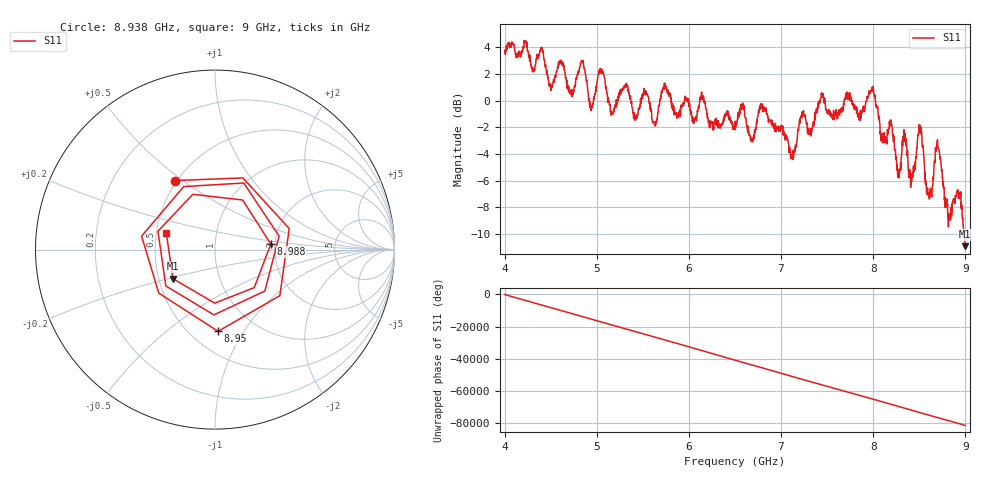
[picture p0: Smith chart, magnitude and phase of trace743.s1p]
! Created with skrf 1.8.0 (http://scikit-rf.org).
# Hz S RI R 50.0
!freq ReS11 ImS11
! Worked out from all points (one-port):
!   1601 points, 4 GHz to 9 GHz, reference 50 ohm
!   lowest |S11| = -10.9 dB at 8.997 GHz (marker M1), VSWR 1.80, Z = 29.6 - j10.5 ohm
!   |S11| at or under -10 dB: 8.984129 GHz to end of sweep
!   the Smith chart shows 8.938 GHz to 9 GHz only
!   S11 on the Smith chart (normalised r, x): 8.938 GHz: 0.49, +0.47; 8.95 GHz: 0.68, -0.78; 8.988 GHz: 1.90, +0.13; 9 GHz: 0.57, +0.11
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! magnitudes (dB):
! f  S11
! 4 GHz  3.7
! 4.625 GHz  2.7
! 4.725 GHz  0.6
! 4.847 GHz  3.0
! 4.938 GHz  -0.7
! 5.044 GHz  2.3
! 5.162 GHz  -0.8
! 5.25 GHz  0.8
! 5.875 GHz  -1.0
! 6.5 GHz  -2.2
! 6.688 GHz  -3.1
! 6.797 GHz  -0.3
! 7.125 GHz  -4.1
! 7.231 GHz  -1.3
! 7.75 GHz  0.0
! 7.994 GHz  0.7
! 8.269 GHz  -5.5
! 8.375 GHz  -4.2
! 8.431 GHz  -5.4
! 8.506 GHz  -2.2
! 8.603 GHz  -7.1
! 8.7 GHz  -3.4
! 8.812 GHz  -8.5
! 8.938 GHz  -7.0
! 8.95 GHz  -6.8
! 8.988 GHz  -10.1
! 8.997 GHz  -10.9
! 9 GHz  -10.9
